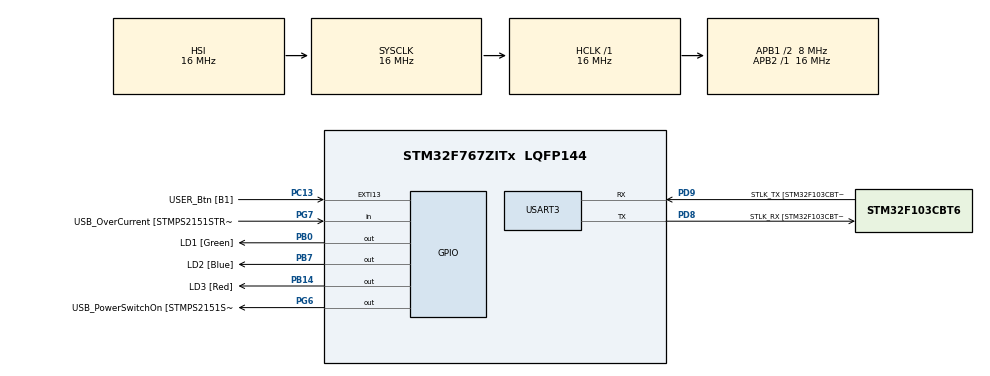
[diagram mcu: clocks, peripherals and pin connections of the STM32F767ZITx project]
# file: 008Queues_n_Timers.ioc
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Mcu.Family=STM32F7
Mcu.Name=STM32F767ZITx
Mcu.Package=LQFP144
NVIC.EXTI15_10_IRQn=true\:6\:0\:true\:false\:true\:true\:true\:true
NVIC.PriorityGroup=NVIC_PRIORITYGROUP_4
NVIC.TIM6_DAC_IRQn=true\:15\:0\:false\:false\:true\:false\:true\:true
NVIC.TimeBase=TIM6_DAC_IRQn
NVIC.TimeBaseIP=TIM6
NVIC.USART3_IRQn=true\:5\:0\:true\:false\:true\:true\:true\:true
PA1.GPIO_Label=RMII_REF_CLK [LAN8742A-CZ-TR_REFCLK0]
PA1.Signal=ETH_REF_CLK
PA10.GPIO_Label=USB_ID
PA10.Signal=USB_OTG_FS_ID
PA11.GPIO_Label=USB_DM
PA11.Signal=USB_OTG_FS_DM
PA12.GPIO_Label=USB_DP
PA12.Signal=USB_OTG_FS_DP
PA13.GPIO_Label=TMS
PA13.Signal=SYS_JTMS-SWDIO
PA14.GPIO_Label=TCK
PA14.Signal=SYS_JTCK-SWCLK
PA2.GPIO_Label=RMII_MDIO [LAN8742A-CZ-TR_MDIO]
PA2.Signal=ETH_MDIO
PA7.GPIO_Label=RMII_CRS_DV [LAN8742A-CZ-TR_CRS_DV]
PA7.Signal=ETH_CRS_DV
PA8.GPIO_Label=USB_SOF [TP1]
PA8.Signal=USB_OTG_FS_SOF
PA9.GPIO_Label=USB_VBUS
PA9.Signal=USB_OTG_FS_VBUS
PB0.GPIO_Label=LD1 [Green]
PB0.Signal=GPIO_Output
PB13.GPIO_Label=RMII_TXD1 [LAN8742A-CZ-TR_TXD1]
PB13.Signal=ETH_TXD1
PB14.GPIO_Label=LD3 [Red]
PB14.Signal=GPIO_Output
PB3.GPIO_Label=SW0
PB3.Signal=SYS_JTDO-SWO
PB7.GPIO_Label=LD2 [Blue]
PB7.Signal=GPIO_Output
PC1.GPIO_Label=RMII_MDC [LAN8742A-CZ-TR_MDC]
PC1.Signal=ETH_MDC
PC13.GPIO_Label=USER_Btn [B1]
PC13.GPIO_ModeDefaultEXTI=GPIO_MODE_IT_RISING
PC13.Signal=GPXTI13
PC14/OSC32_IN.Signal=RCC_OSC32_IN
PC15/OSC32_OUT.Signal=RCC_OSC32_OUT
PC4.GPIO_Label=RMII_RXD0 [LAN8742A-CZ-TR_RXD0]
PC4.Signal=ETH_RXD0
PC5.GPIO_Label=RMII_RXD1 [LAN8742A-CZ-TR_RXD1]
PC5.Signal=ETH_RXD1
PD8.GPIO_Label=STLK_RX [STM32F103CBT6_PA3]
PD8.Mode=Asynchronous
PD8.Signal=USART3_TX
PD9.GPIO_Label=STLK_TX [STM32F103CBT6_PA2]
PD9.Mode=Asynchronous
PD9.Signal=USART3_RX
PG11.GPIO_Label=RMII_TX_EN [LAN8742A-CZ-TR_TXEN]
PG11.Signal=ETH_TX_EN
PG13.GPIO_Label=RMII_TXD0 [LAN8742A-CZ-TR_TXD0]
PG13.Signal=ETH_TXD0
PG6.GPIO_Label=USB_PowerSwitchOn [STMPS2151STR_EN]
PG6.Signal=GPIO_Output
PG7.GPIO_Label=USB_OverCurrent [STMPS2151STR_FAULT]
PG7.Signal=GPIO_Input
PH0/OSC_IN.GPIO_Label=MCO [STM32F103CBT6_PA8]
PH0/OSC_IN.Signal=RCC_OSC_IN
PH1/OSC_OUT.Signal=RCC_OSC_OUT
ProjectManager.HeapSize=0x200
ProjectManager.StackSize=0x400
ProjectManager.TargetToolchain=STM32CubeIDE
RCC.48MHZClocksFreq_Value=24000000
RCC.AHBFreq_Value=16000000
RCC.APB1CLKDivider=RCC_HCLK_DIV2
RCC.APB1Freq_Value=8000000
RCC.APB1TimFreq_Value=16000000
RCC.APB2Freq_Value=16000000
RCC.APB2TimFreq_Value=16000000
RCC.CortexFreq_Value=16000000
RCC.HCLKFreq_Value=16000000
RCC.HSE_VALUE=16000000
RCC.HSI_VALUE=16000000
RCC.LSE_VALUE=32768
RCC.PLLMUL=RCC_PLL_MUL9
RCC.PRESCALERUSB=RCC_USBCLKSOURCE_PLL_DIV1_5
RCC.SYSCLKFreq_VALUE=16000000
RCC.SYSCLKSourceVirtual=RCC_SYSCLKSOURCE_PLLCLK
RCC.USBFreq_Value=96000000
RCC.VCOOutputFreq_Value=192000000
USART3.VirtualMode-Asynchronous=VM_ASYNC
VP_RTC_VS_RTC_Activate.Mode=RTC_Enabled
VP_SYS_VS_tim6.Mode=TIM6
board=NUCLEO-F767ZI

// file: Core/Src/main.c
/* USER CODE BEGIN Header */
/**
  ******************************************************************************
  * @file           : main.c
  * @brief          : Main program body
  ******************************************************************************
  * @attention
  *
  * Copyright (c) 2024 STMicroelectronics.
  * All rights reserved.
  *
  * This software is licensed under terms that can be found in the LICENSE file
  * in the root directory of this software component.
  * If no LICENSE file comes with this software, it is provided AS-IS.
  *
  ******************************************************************************
  */
/* USER CODE END Header */
#include "main.h"

RTC_HandleTypeDef hrtc;

UART_HandleTypeDef huart3;

/* USER CODE BEGIN PV */
TaskHandle_t handle_cmd_task;
TaskHandle_t handle_menu_task;
TaskHandle_t handle_print_task;
TaskHandle_t handle_led_task;
TaskHandle_t handle_rtc_task;

QueueHandle_t q_data;
QueueHandle_t q_print;
//software timer handles
TimerHandle_t  handle_led_timer[4];
TimerHandle_t rtc_timer;

volatile uint8_t user_data;

//state variable
state_t curr_state = sMainMenu;
/* USER CODE END PV */

void SystemClock_Config(void);
static void MX_GPIO_Init(void);
static void MX_RTC_Init(void);
static void MX_USART3_UART_Init(void);
/* USER CODE BEGIN PFP */
static void led_effect_callback(TimerHandle_t xTimer);
void rtc_report_callback( TimerHandle_t xTimer );
/* USER CODE END PFP */

int main(void)
{

  /* MCU Configuration--------------------------------------------------------*/

  /* Reset of all peripherals, Initializes the Flash interface and the Systick. */
  HAL_Init();

  /* USER CODE BEGIN Init */
  BaseType_t status;
  /* USER CODE END Init */

  /* Configure the system clock */
  SystemClock_Config();

  /* Initialize all configured peripherals */
  MX_GPIO_Init();
  MX_RTC_Init();
  MX_USART3_UART_Init();
  /* USER CODE BEGIN 2 */
  // Enable the CYCCNT counter
    CoreDebug->DEMCR |= CoreDebug_DEMCR_TRCENA_Msk;

    DWT->LAR = 0xC5ACCE55;

    DWT->CYCCNT = 0;

    DWT->CTRL |= DWT_CTRL_CYCCNTENA_Msk;

  printf("ITM DEBUGGER TEST");

  // Start the SEGGER recorder
  SEGGER_SYSVIEW_Conf();
  SEGGER_SYSVIEW_Start();

  // Create Tasks
	status = xTaskCreate(menu_task, "menu_task", 250, NULL, 2, &handle_menu_task);

	configASSERT(status == pdPASS);

	status = xTaskCreate(cmd_handler_task, "cmd_task", 250, NULL, 2, &handle_cmd_task);

	configASSERT(status == pdPASS);

	status = xTaskCreate(print_task, "print_task", 250, NULL, 2, &handle_print_task);

	configASSERT(status == pdPASS);

	status = xTaskCreate(led_task, "led_task", 250, NULL, 2, &handle_led_task);

	configASSERT(status == pdPASS);

	status = xTaskCreate(rtc_task, "rtc_task", 250, NULL, 2, &handle_rtc_task);

	configASSERT(status == pdPASS);

	// Create FreeRTOS queues
	q_data = xQueueCreate (10, sizeof(char)); //10 Bytes

	configASSERT(q_data != NULL);

	q_print = xQueueCreate (10, sizeof(size_t)); //Pointer to data to print

	configASSERT(q_print != NULL);

	// Create software timers for LED effects
	for(int i = 0 ; i < 4 ; i++)
	{
		handle_led_timer[i] = xTimerCreate("led_timer",pdMS_TO_TICKS(500),pdTRUE, (void*)(i+1),led_effect_callback);
	}

	rtc_timer = xTimerCreate ("rtc_report_timer",pdMS_TO_TICKS(1000),pdTRUE,NULL,rtc_report_callback);

	// Enable UART receive interrupt
	UART_Start_Receive_IT(&huart3, (uint8_t*)&user_data, 1);

  // Start the freeRTOS scheduler
  vTaskStartScheduler();

  //if the control comes here, then the launch of the scheduler has failed due to insufficient memory in heap
  printf("INSUFFUCIENT MEMORY IN HEAP!\n");
  /* USER CODE END 2 */

  /* Infinite loop */
  while (1)
  {

  }
}

void SystemClock_Config(void)
{
  RCC_OscInitTypeDef RCC_OscInitStruct = {0};
  RCC_ClkInitTypeDef RCC_ClkInitStruct = {0};

  /** Configure the main internal regulator output voltage
  */
  __HAL_RCC_PWR_CLK_ENABLE();
  __HAL_PWR_VOLTAGESCALING_CONFIG(PWR_REGULATOR_VOLTAGE_SCALE3);

  /** Initializes the RCC Oscillators according to the specified parameters
  * in the RCC_OscInitTypeDef structure.
  */
  RCC_OscInitStruct.OscillatorType = RCC_OSCILLATORTYPE_HSI|RCC_OSCILLATORTYPE_LSI;
  RCC_OscInitStruct.HSIState = RCC_HSI_ON;
  RCC_OscInitStruct.HSICalibrationValue = RCC_HSICALIBRATION_DEFAULT;
  RCC_OscInitStruct.LSIState = RCC_LSI_ON;
  RCC_OscInitStruct.PLL.PLLState = RCC_PLL_NONE;
  if (HAL_RCC_OscConfig(&RCC_OscInitStruct) != HAL_OK)
  {
    Error_Handler();
  }

  /** Initializes the CPU, AHB and APB buses clocks
  */
  RCC_ClkInitStruct.ClockType = RCC_CLOCKTYPE_HCLK|RCC_CLOCKTYPE_SYSCLK
                              |RCC_CLOCKTYPE_PCLK1|RCC_CLOCKTYPE_PCLK2;
  RCC_ClkInitStruct.SYSCLKSource = RCC_SYSCLKSOURCE_HSI;
  RCC_ClkInitStruct.AHBCLKDivider = RCC_SYSCLK_DIV1;
  RCC_ClkInitStruct.APB1CLKDivider = RCC_HCLK_DIV2;
  RCC_ClkInitStruct.APB2CLKDivider = RCC_HCLK_DIV1;

  if (HAL_RCC_ClockConfig(&RCC_ClkInitStruct, FLASH_LATENCY_0) != HAL_OK)
  {
    Error_Handler();
  }
}

static void MX_RTC_Init(void)
{

  /** Initialize RTC Only
  */
  hrtc.Instance = RTC;
  hrtc.Init.HourFormat = RTC_HOURFORMAT_24;
  hrtc.Init.AsynchPrediv = 127;
  hrtc.Init.SynchPrediv = 255;
  hrtc.Init.OutPut = RTC_OUTPUT_DISABLE;
  hrtc.Init.OutPutPolarity = RTC_OUTPUT_POLARITY_HIGH;
  hrtc.Init.OutPutType = RTC_OUTPUT_TYPE_OPENDRAIN;
  if (HAL_RTC_Init(&hrtc) != HAL_OK)
  {
    Error_Handler();
  }

}

static void MX_USART3_UART_Init(void)
{

  huart3.Instance = USART3;
  huart3.Init.BaudRate = 115200;
  huart3.Init.WordLength = UART_WORDLENGTH_8B;
  huart3.Init.StopBits = UART_STOPBITS_1;
  huart3.Init.Parity = UART_PARITY_NONE;
  huart3.Init.Mode = UART_MODE_TX_RX;
  huart3.Init.HwFlowCtl = UART_HWCONTROL_NONE;
  huart3.Init.OverSampling = UART_OVERSAMPLING_16;
  huart3.Init.OneBitSampling = UART_ONE_BIT_SAMPLE_DISABLE;
  huart3.AdvancedInit.AdvFeatureInit = UART_ADVFEATURE_NO_INIT;
  if (HAL_UART_Init(&huart3) != HAL_OK)
  {
    Error_Handler();
  }

}

static void MX_GPIO_Init(void)
{
  GPIO_InitTypeDef GPIO_InitStruct = {0};

  /* GPIO Ports Clock Enable */
  __HAL_RCC_GPIOC_CLK_ENABLE();
  __HAL_RCC_GPIOH_CLK_ENABLE();
  __HAL_RCC_GPIOA_CLK_ENABLE();
  __HAL_RCC_GPIOB_CLK_ENABLE();
  __HAL_RCC_GPIOD_CLK_ENABLE();
  __HAL_RCC_GPIOG_CLK_ENABLE();

  /*Configure GPIO pin Output Level */
  HAL_GPIO_WritePin(GPIOB, LD1_Pin|LD3_Pin|LD2_Pin, GPIO_PIN_RESET);

  /*Configure GPIO pin Output Level */
  HAL_GPIO_WritePin(USB_PowerSwitchOn_GPIO_Port, USB_PowerSwitchOn_Pin, GPIO_PIN_RESET);

  /*Configure GPIO pin : USER_Btn_Pin */
  GPIO_InitStruct.Pin = USER_Btn_Pin;
  GPIO_InitStruct.Mode = GPIO_MODE_IT_RISING;
  GPIO_InitStruct.Pull = GPIO_NOPULL;
  HAL_GPIO_Init(USER_Btn_GPIO_Port, &GPIO_InitStruct);

  /*Configure GPIO pins : RMII_MDC_Pin RMII_RXD0_Pin RMII_RXD1_Pin */
  GPIO_InitStruct.Pin = RMII_MDC_Pin|RMII_RXD0_Pin|RMII_RXD1_Pin;
  GPIO_InitStruct.Mode = GPIO_MODE_AF_PP;
  GPIO_InitStruct.Pull = GPIO_NOPULL;
  GPIO_InitStruct.Speed = GPIO_SPEED_FREQ_VERY_HIGH;
  GPIO_InitStruct.Alternate = GPIO_AF11_ETH;
  HAL_GPIO_Init(GPIOC, &GPIO_InitStruct);

  /*Configure GPIO pins : RMII_REF_CLK_Pin RMII_MDIO_Pin RMII_CRS_DV_Pin */
  GPIO_InitStruct.Pin = RMII_REF_CLK_Pin|RMII_MDIO_Pin|RMII_CRS_DV_Pin;
  GPIO_InitStruct.Mode = GPIO_MODE_AF_PP;
  GPIO_InitStruct.Pull = GPIO_NOPULL;
  GPIO_InitStruct.Speed = GPIO_SPEED_FREQ_VERY_HIGH;
  GPIO_InitStruct.Alternate = GPIO_AF11_ETH;
  HAL_GPIO_Init(GPIOA, &GPIO_InitStruct);

  /*Configure GPIO pins : LD1_Pin LD3_Pin LD2_Pin */
  GPIO_InitStruct.Pin = LD1_Pin|LD3_Pin|LD2_Pin;
  GPIO_InitStruct.Mode = GPIO_MODE_OUTPUT_PP;
  GPIO_InitStruct.Pull = GPIO_NOPULL;
  GPIO_InitStruct.Speed = GPIO_SPEED_FREQ_LOW;
  HAL_GPIO_Init(GPIOB, &GPIO_InitStruct);

  /*Configure GPIO pin : RMII_TXD1_Pin */
  GPIO_InitStruct.Pin = RMII_TXD1_Pin;
  GPIO_InitStruct.Mode = GPIO_MODE_AF_PP;
  GPIO_InitStruct.Pull = GPIO_NOPULL;
  GPIO_InitStruct.Speed = GPIO_SPEED_FREQ_VERY_HIGH;
  GPIO_InitStruct.Alternate = GPIO_AF11_ETH;
  HAL_GPIO_Init(RMII_TXD1_GPIO_Port, &GPIO_InitStruct);

  /*Configure GPIO pin : USB_PowerSwitchOn_Pin */
  GPIO_InitStruct.Pin = USB_PowerSwitchOn_Pin;
  GPIO_InitStruct.Mode = GPIO_MODE_OUTPUT_PP;
  GPIO_InitStruct.Pull = GPIO_NOPULL;
  GPIO_InitStruct.Speed = GPIO_SPEED_FREQ_LOW;
  HAL_GPIO_Init(USB_PowerSwitchOn_GPIO_Port, &GPIO_InitStruct);

  /*Configure GPIO pin : USB_OverCurrent_Pin */
  GPIO_InitStruct.Pin = USB_OverCurrent_Pin;
  GPIO_InitStruct.Mode = GPIO_MODE_INPUT;
  GPIO_InitStruct.Pull = GPIO_NOPULL;
  HAL_GPIO_Init(USB_OverCurrent_GPIO_Port, &GPIO_InitStruct);

  /*Configure GPIO pins : USB_SOF_Pin USB_ID_Pin USB_DM_Pin USB_DP_Pin */
  GPIO_InitStruct.Pin = USB_SOF_Pin|USB_ID_Pin|USB_DM_Pin|USB_DP_Pin;
  GPIO_InitStruct.Mode = GPIO_MODE_AF_PP;
  GPIO_InitStruct.Pull = GPIO_NOPULL;
  GPIO_InitStruct.Speed = GPIO_SPEED_FREQ_VERY_HIGH;
  GPIO_InitStruct.Alternate = GPIO_AF10_OTG_FS;
  HAL_GPIO_Init(GPIOA, &GPIO_InitStruct);

  /*Configure GPIO pin : USB_VBUS_Pin */
  GPIO_InitStruct.Pin = USB_VBUS_Pin;
  GPIO_InitStruct.Mode = GPIO_MODE_INPUT;
  GPIO_InitStruct.Pull = GPIO_NOPULL;
  HAL_GPIO_Init(USB_VBUS_GPIO_Port, &GPIO_InitStruct);

  /*Configure GPIO pins : RMII_TX_EN_Pin RMII_TXD0_Pin */
  GPIO_InitStruct.Pin = RMII_TX_EN_Pin|RMII_TXD0_Pin;
  GPIO_InitStruct.Mode = GPIO_MODE_AF_PP;
  GPIO_InitStruct.Pull = GPIO_NOPULL;
  GPIO_InitStruct.Speed = GPIO_SPEED_FREQ_VERY_HIGH;
  GPIO_InitStruct.Alternate = GPIO_AF11_ETH;
  HAL_GPIO_Init(GPIOG, &GPIO_InitStruct);

  /* EXTI interrupt init*/
  HAL_NVIC_SetPriority(EXTI15_10_IRQn, 6, 0);
  HAL_NVIC_EnableIRQ(EXTI15_10_IRQn);

}

/* USER CODE BEGIN 4 */

// UART hardware interrupt handler
void HAL_UART_RxCpltCallback(UART_HandleTypeDef *huart)
{

	uint8_t dummy;

	if(! xQueueIsQueueFullFromISR(q_data))
	{
		/*Enqueue data byte */
		xQueueSendFromISR(q_data , (void*)&user_data , NULL);
	}
	else
	{
		if(user_data == '\n')
		{
			/*Make sure that last data byte of the queue is '\n' */
			xQueueReceiveFromISR(q_data,(void*)&dummy,NULL);
			xQueueSendFromISR(q_data ,(void*)&user_data , NULL);
		}
	}

	/*Send notification to command handling task if user_data = '\n' */
	if( user_data == '\n' ){
		/*send notification to command handling task */
		xTaskNotifyFromISR (handle_cmd_task,0,eNoAction,NULL);
	}

	/* Enable UART data byte reception again in IT mode */
	 UART_Start_Receive_IT(&huart3, (uint8_t*)&user_data, 1);

}

// FreeRTOS Timer LED Callback
void led_effect_callback(TimerHandle_t xTimer)
{
	int id;
	id = (uint32_t) pvTimerGetTimerID(xTimer);

	switch(id)
	{
	case 1:
		LED_effect1();
		break;
	case 2:
		LED_effect2();
		break;
	case 3:
		LED_effect3();
		break;
	case 4:
		LED_effect4();
		break;
	}

}

void rtc_report_callback( TimerHandle_t xTimer )
{
	 show_time_date_itm();

}

/* USER CODE END 4 */

void HAL_TIM_PeriodElapsedCallback(TIM_HandleTypeDef *htim)
{
  if (htim->Instance == TIM6) {
    HAL_IncTick();
  }
}

void Error_Handler(void)
{
  __disable_irq();
  while (1)
  {
  }
}
